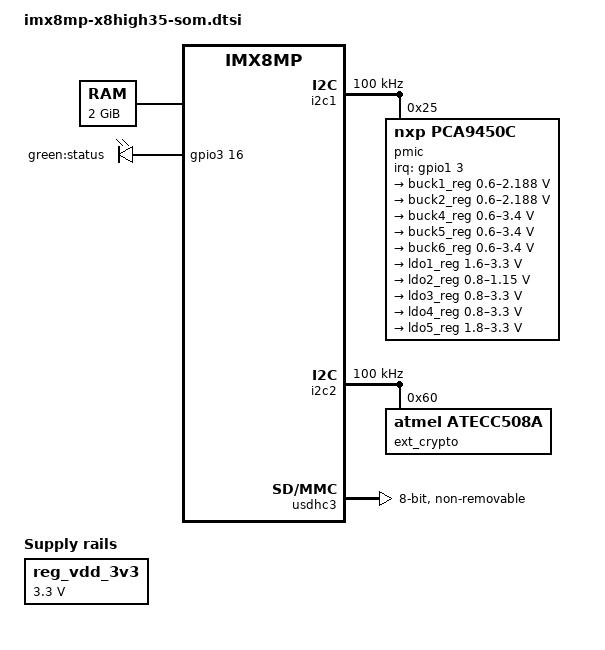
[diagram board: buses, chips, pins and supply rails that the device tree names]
// SPDX-License-Identifier: (GPL-2.0 OR MIT)
/*
 * Copyright (C) 2021 Shrirang Bagul <shrirang.bagul@canonical.com>
 */

#include "imx8mp.dtsi"

/ {
	reg_vdd_3v3: regulator-vdd-3v3 {
		compatible = "regulator-fixed";
		regulator-always-on;
		regulator-name = "vdd_3v3";
		regulator-min-microvolt = <3300000>;
		regulator-max-microvolt = <3300000>;
	};

	memory@40000000 {
		device_type = "memory";
		reg = <0x0 0x40000000 0 0x80000000>;
	};

	leds {
		compatible = "gpio-leds";
		pinctrl-names = "default";
		pinctrl-0 = <&pinctrl_som_led>;

		som_led: status {
			label = "green:status";
			gpios = <&gpio3 16 GPIO_ACTIVE_HIGH>;
			default-state = "on";
		};
	};

	a53_opp_table: opp-table {
		compatible = "operating-points-v2";
		opp-shared;

		opp-1200000000 {
			opp-hz = /bits/ 64 <1200000000>;
			opp-microvolt = <850000>;
			opp-supported-hw = <0x8a0>, <0x7>;
			clock-latency-ns = <150000>;
			opp-suspend;
		};

		opp-1600000000 {
			opp-hz = /bits/ 64 <1600000000>;
			opp-microvolt = <950000>;
			opp-supported-hw = <0xa0>, <0x7>;
			clock-latency-ns = <150000>;
			opp-suspend;
		};

		opp-1800000000 {
			opp-hz = /bits/ 64 <1800000000>;
			opp-microvolt = <1000000>;
			opp-supported-hw = <0x20>, <0x3>;
			clock-latency-ns = <150000>;
			opp-suspend;
		};
	};

	cpus {
		idle-states {
			entry-method = "psci";

			cpu_pd_wait: cpu-pd-wait {
				compatible = "arm,idle-state";
				arm,psci-suspend-param = <0x0010033>;
				local-timer-stop;
				entry-latency-us = <1000>;
				exit-latency-us = <700>;
				min-residency-us = <2700>;
			};
		};
	};

};

&A53_0 {
	operating-points-v2 = <&a53_opp_table>;
	cpu-idle-states = <&cpu_pd_wait>;
	nvmem-cells = <&cpu_speed_grade>;
	nvmem-cell-names = "speed_grade";
	cpu-supply = <&buck2_reg>;
};

&A53_1 {
	operating-points-v2 = <&a53_opp_table>;
	cpu-idle-states = <&cpu_pd_wait>;
	nvmem-cells = <&cpu_speed_grade>;
	nvmem-cell-names = "speed_grade";
	cpu-supply = <&buck2_reg>;
};

&A53_2 {
	operating-points-v2 = <&a53_opp_table>;
	cpu-idle-states = <&cpu_pd_wait>;
	nvmem-cells = <&cpu_speed_grade>;
	nvmem-cell-names = "speed_grade";
	cpu-supply = <&buck2_reg>;
};

&A53_3 {
	operating-points-v2 = <&a53_opp_table>;
	cpu-idle-states = <&cpu_pd_wait>;
	nvmem-cells = <&cpu_speed_grade>;
	nvmem-cell-names = "speed_grade";
	cpu-supply = <&buck2_reg>;
};

&i2c1 {
	clock-frequency = <100000>;
	pinctrl-names = "default";
	pinctrl-0 = <&pinctrl_i2c1>;
	status = "okay";

	pmic: pca9450@25 {
		compatible = "nxp,pca9450c";
		reg = <0x25>;

		pinctrl-0 = <&pinctrl_pmic>;
		interrupt-parent = <&gpio1>;
		interrupts = <3 IRQ_TYPE_LEVEL_LOW>;

		regulators {
			#address-cells = <1>;
			#size-cells = <0>;

			buck1_reg: regulator@0 {
				reg = <0>;
				regulator-compatible = "buck1";
				regulator-min-microvolt = <600000>;
				regulator-max-microvolt = <2187500>;
				regulator-boot-on;
				regulator-always-on;
				regulator-ramp-delay = <3125>;
			};

			buck2_reg: regulator@1 {
				reg = <1>;
				regulator-compatible = "buck2";
				regulator-min-microvolt = <600000>;
				regulator-max-microvolt = <2187500>;
				regulator-boot-on;
				regulator-always-on;
				regulator-ramp-delay = <3125>;
			};

			buck4_reg: regulator@3 {
				reg = <3>;
				regulator-compatible = "buck4";
				regulator-min-microvolt = <600000>;
				regulator-max-microvolt = <3400000>;
				regulator-boot-on;
				regulator-always-on;
			};

			buck5_reg: regulator@4 {
				reg = <4>;
				regulator-compatible = "buck5";
				regulator-min-microvolt = <600000>;
				regulator-max-microvolt = <3400000>;
				regulator-boot-on;
				regulator-always-on;
			};

			buck6_reg: regulator@5 {
				reg = <5>;
				regulator-compatible = "buck6";
				regulator-min-microvolt = <600000>;
				regulator-max-microvolt = <3400000>;
				regulator-boot-on;
				regulator-always-on;
			};

			ldo1_reg: regulator@6 {
				reg = <6>;
				regulator-compatible = "ldo1";
				regulator-min-microvolt = <1600000>;
				regulator-max-microvolt = <3300000>;
				regulator-boot-on;
				regulator-always-on;
			};

			ldo2_reg: regulator@7 {
				reg = <7>;
				regulator-compatible = "ldo2";
				regulator-min-microvolt = <800000>;
				regulator-max-microvolt = <1150000>;
				regulator-boot-on;
				regulator-always-on;
			};

			ldo3_reg: regulator@8 {
				reg = <8>;
				regulator-compatible = "ldo3";
				regulator-min-microvolt = <800000>;
				regulator-max-microvolt = <3300000>;
				regulator-boot-on;
				regulator-always-on;
			};

			ldo4_reg: regulator@9 {
				reg = <9>;
				regulator-compatible = "ldo4";
				regulator-min-microvolt = <800000>;
				regulator-max-microvolt = <3300000>;
				regulator-boot-on;
				regulator-always-on;
			};

			ldo5_reg: regulator@10 {
				reg = <10>;
				regulator-compatible = "ldo5";
				regulator-min-microvolt = <1800000>;
				regulator-max-microvolt = <3300000>;
			};
		};
	};
};

&i2c2 {
	clock-frequency = <100000>;
	pinctrl-names = "default";
	pinctrl-0 = <&pinctrl_i2c2>;
	status = "okay";

	ext_crypto: extcrypto@60 {
		compatible = "atmel,atecc508a";
		reg = <0x60>;
	};
};

&iomuxc {
	pinctrl_som_led: somledgrp {
		fsl,pins = <
			MX8MP_IOMUXC_NAND_READY_B__GPIO3_IO16	0x19
		>;
	};

	pinctrl_i2c1: i2c1grp {
		fsl,pins = <
			MX8MP_IOMUXC_I2C1_SCL__I2C1_SCL		0x400001c3
			MX8MP_IOMUXC_I2C1_SDA__I2C1_SDA		0x400001c3
		>;
	};

	pinctrl_i2c2: i2c2grp {
		fsl,pins = <
			MX8MP_IOMUXC_I2C2_SCL__I2C2_SCL		0x400001c3
			MX8MP_IOMUXC_I2C2_SDA__I2C2_SDA		0x400001c3
		>;
	};

	pinctrl_usdhc3: usdhc3grp {
		fsl,pins = <
			MX8MP_IOMUXC_NAND_WE_B__USDHC3_CLK	0x190
			MX8MP_IOMUXC_NAND_WP_B__USDHC3_CMD	0x1d0
			MX8MP_IOMUXC_NAND_DATA04__USDHC3_DATA0	0x1d0
			MX8MP_IOMUXC_NAND_DATA05__USDHC3_DATA1	0x1d0
			MX8MP_IOMUXC_NAND_DATA06__USDHC3_DATA2	0x1d0
			MX8MP_IOMUXC_NAND_DATA07__USDHC3_DATA3	0x1d0
			MX8MP_IOMUXC_NAND_RE_B__USDHC3_DATA4	0x1d0
			MX8MP_IOMUXC_NAND_CE2_B__USDHC3_DATA5	0x1d0
			MX8MP_IOMUXC_NAND_CE3_B__USDHC3_DATA6	0x1d0
			MX8MP_IOMUXC_NAND_CLE__USDHC3_DATA7	0x1d0
			MX8MP_IOMUXC_NAND_CE1_B__USDHC3_STROBE	0x190
		>;
	};

	pinctrl_usdhc3_100mhz: usdhc3-100mhzgrp {
		fsl,pins = <
			MX8MP_IOMUXC_NAND_WE_B__USDHC3_CLK	0x194
			MX8MP_IOMUXC_NAND_WP_B__USDHC3_CMD	0x1d4
			MX8MP_IOMUXC_NAND_DATA04__USDHC3_DATA0	0x1d4
			MX8MP_IOMUXC_NAND_DATA05__USDHC3_DATA1	0x1d4
			MX8MP_IOMUXC_NAND_DATA06__USDHC3_DATA2	0x1d4
			MX8MP_IOMUXC_NAND_DATA07__USDHC3_DATA3	0x1d4
			MX8MP_IOMUXC_NAND_RE_B__USDHC3_DATA4	0x1d4
			MX8MP_IOMUXC_NAND_CE2_B__USDHC3_DATA5	0x1d4
			MX8MP_IOMUXC_NAND_CE3_B__USDHC3_DATA6	0x1d4
			MX8MP_IOMUXC_NAND_CLE__USDHC3_DATA7	0x1d4
			MX8MP_IOMUXC_NAND_CE1_B__USDHC3_STROBE	0x194
		>;
	};

	pinctrl_usdhc3_200mhz: usdhc3-200mhzgrp {
		fsl,pins = <
			MX8MP_IOMUXC_NAND_WE_B__USDHC3_CLK	0x196
			MX8MP_IOMUXC_NAND_WP_B__USDHC3_CMD	0x1d6
			MX8MP_IOMUXC_NAND_DATA04__USDHC3_DATA0	0x1d6
			MX8MP_IOMUXC_NAND_DATA05__USDHC3_DATA1	0x1d6
			MX8MP_IOMUXC_NAND_DATA06__USDHC3_DATA2	0x1d6
			MX8MP_IOMUXC_NAND_DATA07__USDHC3_DATA3	0x1d6
			MX8MP_IOMUXC_NAND_RE_B__USDHC3_DATA4	0x1d6
			MX8MP_IOMUXC_NAND_CE2_B__USDHC3_DATA5	0x1d6
			MX8MP_IOMUXC_NAND_CE3_B__USDHC3_DATA6	0x1d6
			MX8MP_IOMUXC_NAND_CLE__USDHC3_DATA7	0x1d6
			MX8MP_IOMUXC_NAND_CE1_B__USDHC3_STROBE	0x196
		>;
	};

	pinctrl_pmic: pmicirq {
		fsl,pins = <
			MX8MP_IOMUXC_GPIO1_IO03__GPIO1_IO03	0x41
		>;
	};
};

&usdhc3 {
	assigned-clocks = <&clk IMX8MP_CLK_USDHC3>;
	assigned-clock-rates = <400000000>;
	pinctrl-names = "default", "state_100mhz", "state_200mhz";
	pinctrl-0 = <&pinctrl_usdhc3>;
	pinctrl-1 = <&pinctrl_usdhc3_100mhz>;
	pinctrl-2 = <&pinctrl_usdhc3_200mhz>;
	bus-width = <8>;
	non-removable;
	status = "okay";
};
